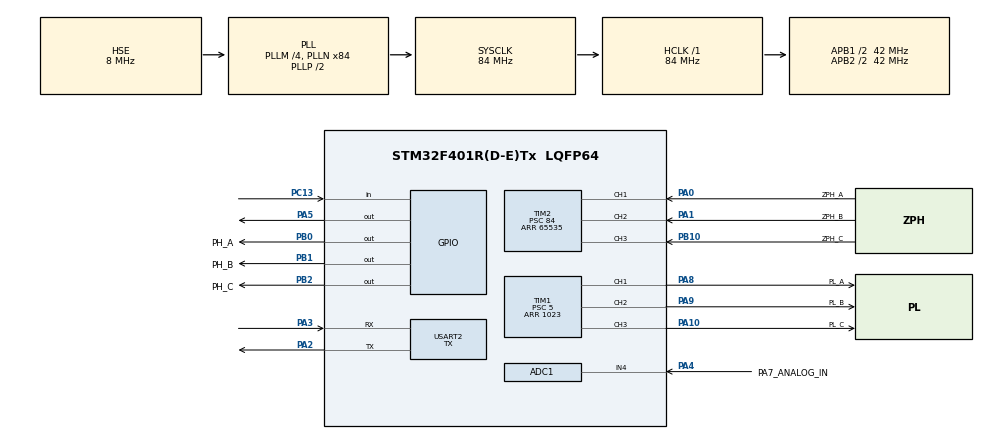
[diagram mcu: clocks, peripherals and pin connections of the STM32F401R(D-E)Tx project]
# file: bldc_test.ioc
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ADC1.Channel-1\#ChannelRegularConversion=ADC_CHANNEL_4
ADC1.NbrOfConversionFlag=1
ADC1.Rank-1\#ChannelRegularConversion=1
ADC1.Resolution=ADC_RESOLUTION_8B
ADC1.SamplingTime-1\#ChannelRegularConversion=ADC_SAMPLETIME_3CYCLES
ADC1.master=1
Mcu.Family=STM32F4
Mcu.Name=STM32F401R(D-E)Tx
Mcu.Package=LQFP64
NVIC.PriorityGroup=NVIC_PRIORITYGROUP_0
NVIC.TIM2_IRQn=true\:0\:0\:false\:false\:true\:true\:false
PA0-WKUP.GPIO_Label=ZPH_A
PA0-WKUP.Signal=S_TIM2_CH1_ETR
PA1.GPIO_Label=ZPH_B
PA1.Signal=S_TIM2_CH2
PA10.GPIO_Label=PL_C
PA10.Signal=S_TIM1_CH3
PA2.Mode=Asynchronous
PA2.Signal=USART2_TX
PA3.Mode=Asynchronous
PA3.Signal=USART2_RX
PA4.GPIO_Label=PA7_ANALOG_IN
PA4.Signal=ADCx_IN4
PA5.Signal=GPIO_Output
PA8.GPIO_Label=PL_A
PA8.Signal=S_TIM1_CH1
PA9.GPIO_Label=PL_B
PA9.Signal=S_TIM1_CH2
PB0.GPIO_Label=PH_A
PB0.Signal=GPIO_Output
PB1.GPIO_Label=PH_B
PB1.Signal=GPIO_Output
PB10.GPIO_Label=ZPH_C
PB10.Signal=S_TIM2_CH3
PB2.GPIO_Label=PH_C
PB2.Signal=GPIO_Output
PC13-ANTI_TAMP.Signal=GPIO_Input
PH0\ -\ OSC_IN.Mode=HSE-External-Clock-Source
PH0\ -\ OSC_IN.Signal=RCC_OSC_IN
PH1\ -\ OSC_OUT.Mode=HSE-External-Clock-Source
PH1\ -\ OSC_OUT.Signal=RCC_OSC_OUT
ProjectManager.HeapSize=0x200
ProjectManager.StackSize=0x400
ProjectManager.TargetToolchain=STM32CubeIDE
RCC.48MHZClocksFreq_Value=24000000
RCC.AHBFreq_Value=84000000
RCC.APB1CLKDivider=RCC_HCLK_DIV2
RCC.APB1Freq_Value=42000000
RCC.APB1TimFreq_Value=84000000
RCC.APB2CLKDivider=RCC_HCLK_DIV2
RCC.APB2Freq_Value=42000000
RCC.APB2TimFreq_Value=84000000
RCC.CortexFreq_Value=84000000
RCC.HCLKFreq_Value=84000000
RCC.HSE_VALUE=8000000
RCC.HSI_VALUE=16000000
RCC.LSE_VALUE=32768
RCC.PLLM=4
RCC.PLLN=84
RCC.PLLQ=7
RCC.PLLSourceVirtual=RCC_PLLSOURCE_HSE
RCC.SYSCLKFreq_VALUE=84000000
RCC.SYSCLKSource=RCC_SYSCLKSOURCE_PLLCLK
RCC.VCOOutputFreq_Value=168000000
SH.ADCx_IN4.0=ADC1_IN4,IN4
SH.S_TIM1_CH1.0=TIM1_CH1,PWM Generation1 CH1
SH.S_TIM1_CH2.0=TIM1_CH2,PWM Generation2 CH2
SH.S_TIM1_CH3.0=TIM1_CH3,PWM Generation3 CH3
SH.S_TIM2_CH1_ETR.0=TIM2_CH1,Input_Capture1_from_TI1
SH.S_TIM2_CH2.0=TIM2_CH2,Input_Capture2_from_TI2
SH.S_TIM2_CH3.0=TIM2_CH3,Input_Capture3_from_TI3
TIM1.Channel-PWM\ Generation1\ CH1=TIM_CHANNEL_1
TIM1.Channel-PWM\ Generation2\ CH2=TIM_CHANNEL_2
TIM1.Channel-PWM\ Generation3\ CH3=TIM_CHANNEL_3
TIM1.Period=1023
TIM1.Prescaler=5
TIM2.Channel-Input_Capture1_from_TI1=TIM_CHANNEL_1
TIM2.Channel-Input_Capture2_from_TI2=TIM_CHANNEL_2
TIM2.Channel-Input_Capture3_from_TI3=TIM_CHANNEL_3
TIM2.ICPolarity_CH1=TIM_INPUTCHANNELPOLARITY_FALLING
TIM2.ICPolarity_CH2=TIM_INPUTCHANNELPOLARITY_FALLING
TIM2.ICPolarity_CH3=TIM_INPUTCHANNELPOLARITY_FALLING
TIM2.Period=65535
TIM2.Prescaler=84
TIM2.TIM_MasterOutputTrigger=TIM_TRGO_UPDATE
USART2.Mode=MODE_TX
USART2.VirtualMode=VM_ASYNC
VP_TIM2_VS_ClockSourceINT.Mode=Internal
board=NUCLEO-F401RE

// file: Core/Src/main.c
/* USER CODE BEGIN Header */
/**
  ******************************************************************************
  * @file           : main.c
  * @brief          : Main program body
  ******************************************************************************
  * @attention
  *
  * <h2><center>&copy; Copyright (c) 2020 STMicroelectronics.
  * All rights reserved.</center></h2>
  *
  * This software component is licensed by ST under BSD 3-Clause license,
  * the "License"; You may not use this file except in compliance with the
  * License. You may obtain a copy of the License at:
  *                        opensource.org/licenses/BSD-3-Clause
  *
  ******************************************************************************
  */
/* USER CODE END Header */

#include "main.h"

ADC_HandleTypeDef hadc1;

TIM_HandleTypeDef htim1;
TIM_HandleTypeDef htim2;

UART_HandleTypeDef huart2;

/* USER CODE BEGIN PV */
uint8_t StateFlags;
uint8_t TimerFlags;
uint8_t SlowStartEvents;
uint8_t TMR_WarmUp_Timer;
uint8_t TMR_SlowStart_Timer;
uint8_t TMR_StartUp_Timer;
uint8_t TMR_Duty_Timer;
uint8_t TMR_Stall_Timer;
uint8_t TMR_StallCheck_Timer;
uint8_t TMR_Serial_Timer;
uint16_t TMR_Comm_Time;
uint16_t Comm_After_ZC;
uint16_t Expected_ZC;
uint16_t ZC;
int ZCError;
uint8_t PwmDuty;
uint8_t CommState;
uint8_t IsrState;
uint16_t Bit16;
uint32_t Bit32;
uint16_t Temp_Comm_Time;
int Temp;
char buffer[50];
const int CCR_Values[256]={
   0,  4,  8,  12, 16, 20, 24, 27, 31, 35, 39, 43, 47, 51, 55, 59,
   63, 67, 71, 75, 78, 82, 86, 90, 94, 98, 102,106,110,114,118,122,
   125,129,133,137,141,145,149,153,157,161,165,169,173,176,180,184,
   188,192,196,200,204,208,212,216,220,224,227,231,235,239,243,247,
   251,255,259,263,267,271,275,278,282,286,290,294,298,302,306,310,
   314,318,322,325,329,333,337,341,345,349,353,357,361,365,369,373,
   376,380,384,388,392,396,400,404,408,412,416,420,424,427,431,435,
   439,443,447,451,455,459,463,467,471,475,478,482,486,490,494,498,
   502,506,510,514,518,522,525,529,533,537,541,545,549,553,557,561,
   565,569,573,576,580,584,588,592,596,600,604,608,612,616,620,624,
   627,631,635,639,643,647,651,655,659,663,667,671,675,678,682,686,
   690,694,698,702,706,710,714,718,722,725,729,733,737,741,745,749,
   753,757,761,765,769,773,776,780,784,788,792,796,800,804,808,812,
   816,820,824,827,831,835,839,843,847,851,855,859,863,867,871,875,
   878,882,886,890,894,898,902,906,910,914,918,922,925,929,933,937,
   941,945,949,953,957,961,965,969,973,976,980,984,988,992,996,1000
};
/* USER CODE END PV */

void SystemClock_Config(void);
static void MX_GPIO_Init(void);
static void MX_USART2_UART_Init(void);
static void MX_ADC1_Init(void);
static void MX_TIM1_Init(void);
static void MX_TIM2_Init(void);

int main(void)
{

  /* MCU Configuration--------------------------------------------------------*/

  /* Reset of all peripherals, Initializes the Flash interface and the Systick. */
  HAL_Init();

  /* Configure the system clock */
  SystemClock_Config();

  /* Initialize all configured peripherals */
  MX_GPIO_Init();
  MX_USART2_UART_Init();
  MX_ADC1_Init();
  MX_TIM1_Init();
  MX_TIM2_Init();
  /* USER CODE BEGIN 2 */
  StateFlags |= STOP_FLAG;
  /* USER CODE END 2 */

  /* Infinite loop */
  while (1)
  {

    /* USER CODE BEGIN 3 */
	  if(StateFlags & STOP_FLAG) InitSystem();
	  TimeBaseManager();
	  WarmUpControl();
	  ControlSlowStart();
	  ControlStartUp();
	  StallControl();
	  SpeedManager();
	  SerialMonitoring();
  }
  /* USER CODE END 3 */
}

void SystemClock_Config(void)
{
  RCC_OscInitTypeDef RCC_OscInitStruct = {0};
  RCC_ClkInitTypeDef RCC_ClkInitStruct = {0};

  /** Configure the main internal regulator output voltage
  */
  __HAL_RCC_PWR_CLK_ENABLE();
  __HAL_PWR_VOLTAGESCALING_CONFIG(PWR_REGULATOR_VOLTAGE_SCALE2);
  /** Initializes the CPU, AHB and APB busses clocks
  */
  RCC_OscInitStruct.OscillatorType = RCC_OSCILLATORTYPE_HSE;
  RCC_OscInitStruct.HSEState = RCC_HSE_BYPASS;
  RCC_OscInitStruct.PLL.PLLState = RCC_PLL_ON;
  RCC_OscInitStruct.PLL.PLLSource = RCC_PLLSOURCE_HSE;
  RCC_OscInitStruct.PLL.PLLM = 4;
  RCC_OscInitStruct.PLL.PLLN = 84;
  RCC_OscInitStruct.PLL.PLLP = RCC_PLLP_DIV2;
  RCC_OscInitStruct.PLL.PLLQ = 7;
  if (HAL_RCC_OscConfig(&RCC_OscInitStruct) != HAL_OK)
  {
    Error_Handler();
  }
  /** Initializes the CPU, AHB and APB busses clocks
  */
  RCC_ClkInitStruct.ClockType = RCC_CLOCKTYPE_HCLK|RCC_CLOCKTYPE_SYSCLK
                              |RCC_CLOCKTYPE_PCLK1|RCC_CLOCKTYPE_PCLK2;
  RCC_ClkInitStruct.SYSCLKSource = RCC_SYSCLKSOURCE_PLLCLK;
  RCC_ClkInitStruct.AHBCLKDivider = RCC_SYSCLK_DIV1;
  RCC_ClkInitStruct.APB1CLKDivider = RCC_HCLK_DIV2;
  RCC_ClkInitStruct.APB2CLKDivider = RCC_HCLK_DIV2;

  if (HAL_RCC_ClockConfig(&RCC_ClkInitStruct, FLASH_LATENCY_2) != HAL_OK)
  {
    Error_Handler();
  }
}

static void MX_ADC1_Init(void)
{

  ADC_ChannelConfTypeDef sConfig = {0};

  /** Configure the global features of the ADC (Clock, Resolution, Data Alignment and number of conversion)
  */
  hadc1.Instance = ADC1;
  hadc1.Init.ClockPrescaler = ADC_CLOCK_SYNC_PCLK_DIV2;
  hadc1.Init.Resolution = ADC_RESOLUTION_8B;
  hadc1.Init.ScanConvMode = DISABLE;
  hadc1.Init.ContinuousConvMode = DISABLE;
  hadc1.Init.DiscontinuousConvMode = DISABLE;
  hadc1.Init.ExternalTrigConvEdge = ADC_EXTERNALTRIGCONVEDGE_NONE;
  hadc1.Init.ExternalTrigConv = ADC_SOFTWARE_START;
  hadc1.Init.DataAlign = ADC_DATAALIGN_RIGHT;
  hadc1.Init.NbrOfConversion = 1;
  hadc1.Init.DMAContinuousRequests = DISABLE;
  hadc1.Init.EOCSelection = ADC_EOC_SINGLE_CONV;
  if (HAL_ADC_Init(&hadc1) != HAL_OK)
  {
    Error_Handler();
  }
  /** Configure for the selected ADC regular channel its corresponding rank in the sequencer and its sample time.
  */
  sConfig.Channel = ADC_CHANNEL_4;
  sConfig.Rank = 1;
  sConfig.SamplingTime = ADC_SAMPLETIME_3CYCLES;
  if (HAL_ADC_ConfigChannel(&hadc1, &sConfig) != HAL_OK)
  {
    Error_Handler();
  }

}

static void MX_TIM1_Init(void)
{

  TIM_MasterConfigTypeDef sMasterConfig = {0};
  TIM_OC_InitTypeDef sConfigOC = {0};
  TIM_BreakDeadTimeConfigTypeDef sBreakDeadTimeConfig = {0};

  htim1.Instance = TIM1;
  htim1.Init.Prescaler = 5;
  htim1.Init.CounterMode = TIM_COUNTERMODE_UP;
  htim1.Init.Period = 1023;
  htim1.Init.ClockDivision = TIM_CLOCKDIVISION_DIV1;
  htim1.Init.RepetitionCounter = 0;
  htim1.Init.AutoReloadPreload = TIM_AUTORELOAD_PRELOAD_DISABLE;
  if (HAL_TIM_PWM_Init(&htim1) != HAL_OK)
  {
    Error_Handler();
  }
  sMasterConfig.MasterOutputTrigger = TIM_TRGO_RESET;
  sMasterConfig.MasterSlaveMode = TIM_MASTERSLAVEMODE_DISABLE;
  if (HAL_TIMEx_MasterConfigSynchronization(&htim1, &sMasterConfig) != HAL_OK)
  {
    Error_Handler();
  }
  sConfigOC.OCMode = TIM_OCMODE_PWM1;
  sConfigOC.Pulse = 0;
  sConfigOC.OCPolarity = TIM_OCPOLARITY_HIGH;
  sConfigOC.OCNPolarity = TIM_OCNPOLARITY_HIGH;
  sConfigOC.OCFastMode = TIM_OCFAST_DISABLE;
  sConfigOC.OCIdleState = TIM_OCIDLESTATE_RESET;
  sConfigOC.OCNIdleState = TIM_OCNIDLESTATE_RESET;
  if (HAL_TIM_PWM_ConfigChannel(&htim1, &sConfigOC, TIM_CHANNEL_1) != HAL_OK)
  {
    Error_Handler();
  }
  if (HAL_TIM_PWM_ConfigChannel(&htim1, &sConfigOC, TIM_CHANNEL_2) != HAL_OK)
  {
    Error_Handler();
  }
  if (HAL_TIM_PWM_ConfigChannel(&htim1, &sConfigOC, TIM_CHANNEL_3) != HAL_OK)
  {
    Error_Handler();
  }
  sBreakDeadTimeConfig.OffStateRunMode = TIM_OSSR_DISABLE;
  sBreakDeadTimeConfig.OffStateIDLEMode = TIM_OSSI_DISABLE;
  sBreakDeadTimeConfig.LockLevel = TIM_LOCKLEVEL_OFF;
  sBreakDeadTimeConfig.DeadTime = 0;
  sBreakDeadTimeConfig.BreakState = TIM_BREAK_DISABLE;
  sBreakDeadTimeConfig.BreakPolarity = TIM_BREAKPOLARITY_HIGH;
  sBreakDeadTimeConfig.AutomaticOutput = TIM_AUTOMATICOUTPUT_DISABLE;
  if (HAL_TIMEx_ConfigBreakDeadTime(&htim1, &sBreakDeadTimeConfig) != HAL_OK)
  {
    Error_Handler();
  }
  HAL_TIM_MspPostInit(&htim1);

}

static void MX_TIM2_Init(void)
{

  TIM_ClockConfigTypeDef sClockSourceConfig = {0};
  TIM_MasterConfigTypeDef sMasterConfig = {0};
  TIM_IC_InitTypeDef sConfigIC = {0};

  htim2.Instance = TIM2;
  htim2.Init.Prescaler = 84;
  htim2.Init.CounterMode = TIM_COUNTERMODE_UP;
  htim2.Init.Period = 65535;
  htim2.Init.ClockDivision = TIM_CLOCKDIVISION_DIV1;
  htim2.Init.AutoReloadPreload = TIM_AUTORELOAD_PRELOAD_DISABLE;
  if (HAL_TIM_Base_Init(&htim2) != HAL_OK)
  {
    Error_Handler();
  }
  sClockSourceConfig.ClockSource = TIM_CLOCKSOURCE_INTERNAL;
  if (HAL_TIM_ConfigClockSource(&htim2, &sClockSourceConfig) != HAL_OK)
  {
    Error_Handler();
  }
  if (HAL_TIM_IC_Init(&htim2) != HAL_OK)
  {
    Error_Handler();
  }
  sMasterConfig.MasterOutputTrigger = TIM_TRGO_UPDATE;
  sMasterConfig.MasterSlaveMode = TIM_MASTERSLAVEMODE_DISABLE;
  if (HAL_TIMEx_MasterConfigSynchronization(&htim2, &sMasterConfig) != HAL_OK)
  {
    Error_Handler();
  }
  sConfigIC.ICPolarity = TIM_INPUTCHANNELPOLARITY_FALLING;
  sConfigIC.ICSelection = TIM_ICSELECTION_DIRECTTI;
  sConfigIC.ICPrescaler = TIM_ICPSC_DIV1;
  sConfigIC.ICFilter = 0;
  if (HAL_TIM_IC_ConfigChannel(&htim2, &sConfigIC, TIM_CHANNEL_1) != HAL_OK)
  {
    Error_Handler();
  }
  if (HAL_TIM_IC_ConfigChannel(&htim2, &sConfigIC, TIM_CHANNEL_2) != HAL_OK)
  {
    Error_Handler();
  }
  if (HAL_TIM_IC_ConfigChannel(&htim2, &sConfigIC, TIM_CHANNEL_3) != HAL_OK)
  {
    Error_Handler();
  }

}

static void MX_USART2_UART_Init(void)
{

  huart2.Instance = USART2;
  huart2.Init.BaudRate = 115200;
  huart2.Init.WordLength = UART_WORDLENGTH_8B;
  huart2.Init.StopBits = UART_STOPBITS_1;
  huart2.Init.Parity = UART_PARITY_NONE;
  huart2.Init.Mode = UART_MODE_TX;
  huart2.Init.HwFlowCtl = UART_HWCONTROL_NONE;
  huart2.Init.OverSampling = UART_OVERSAMPLING_16;
  if (HAL_UART_Init(&huart2) != HAL_OK)
  {
    Error_Handler();
  }

}

static void MX_GPIO_Init(void)
{
  GPIO_InitTypeDef GPIO_InitStruct = {0};

  /* GPIO Ports Clock Enable */
  __HAL_RCC_GPIOC_CLK_ENABLE();
  __HAL_RCC_GPIOH_CLK_ENABLE();
  __HAL_RCC_GPIOA_CLK_ENABLE();
  __HAL_RCC_GPIOB_CLK_ENABLE();

  /*Configure GPIO pin Output Level */
  HAL_GPIO_WritePin(GPIOA, GPIO_PIN_5, GPIO_PIN_RESET);

  /*Configure GPIO pin Output Level */
  HAL_GPIO_WritePin(GPIOB, PH_A_Pin|PH_B_Pin|PH_C_Pin, GPIO_PIN_RESET);

  /*Configure GPIO pin : PC13 */
  GPIO_InitStruct.Pin = GPIO_PIN_13;
  GPIO_InitStruct.Mode = GPIO_MODE_INPUT;
  GPIO_InitStruct.Pull = GPIO_NOPULL;
  HAL_GPIO_Init(GPIOC, &GPIO_InitStruct);

  /*Configure GPIO pin : PA5 */
  GPIO_InitStruct.Pin = GPIO_PIN_5;
  GPIO_InitStruct.Mode = GPIO_MODE_OUTPUT_PP;
  GPIO_InitStruct.Pull = GPIO_NOPULL;
  GPIO_InitStruct.Speed = GPIO_SPEED_FREQ_LOW;
  HAL_GPIO_Init(GPIOA, &GPIO_InitStruct);

  /*Configure GPIO pins : PH_A_Pin PH_B_Pin PH_C_Pin */
  GPIO_InitStruct.Pin = PH_A_Pin|PH_B_Pin|PH_C_Pin;
  GPIO_InitStruct.Mode = GPIO_MODE_OUTPUT_PP;
  GPIO_InitStruct.Pull = GPIO_NOPULL;
  GPIO_InitStruct.Speed = GPIO_SPEED_FREQ_LOW;
  HAL_GPIO_Init(GPIOB, &GPIO_InitStruct);

}

/* USER CODE BEGIN 4 */
void InitSystem(void)
{
	HAL_TIM_Base_Stop_IT(&htim2);
	HAL_TIM_IC_Stop_IT(&htim2, TIM_CHANNEL_1);
	HAL_TIM_IC_Stop_IT(&htim2, TIM_CHANNEL_2);
	HAL_TIM_IC_Stop_IT(&htim2, TIM_CHANNEL_3);

	HAL_TIM_PWM_Stop(&htim1, TIM_CHANNEL_1);
	HAL_TIM_PWM_Stop(&htim1, TIM_CHANNEL_2);
	HAL_TIM_PWM_Stop(&htim1, TIM_CHANNEL_3);
	HAL_GPIO_WritePin(GPIOB, GPIO_PIN_0, GPIO_PIN_RESET);
	HAL_GPIO_WritePin(GPIOB, GPIO_PIN_1, GPIO_PIN_RESET);
	HAL_GPIO_WritePin(GPIOB, GPIO_PIN_2, GPIO_PIN_RESET);

	TMR_WarmUp_Timer = WARMUP_TIME;
	TMR_SlowStart_Timer = SLOWSTART_TIME;
	TMR_Duty_Timer = DUTY_TIME;
	TMR_Stall_Timer = STALL_TIME;
	TMR_StallCheck_Timer = STALL_CHECK_TIME;
	TMR_Serial_Timer = SERIAL_TIME;

	StateFlags = 0x00U;
	TimerFlags = 0x00U;
	SlowStartEvents = SLOW_STEPS;

	Comm_After_ZC = 0;
	Expected_ZC = 0;
	ZC = 0;
	ZCError = 0;
}

void InitDriver(void)
{
	PwmDuty = FindTableIndex(START_PWM_DUTY);
	GetPulseVal(PwmDuty);

	TMR_Comm_Time = TIMER_START_COUNT;
	Expected_ZC = (TMR_Comm_Time>>1) | 0x8000;

	CommState = 1;
	Commutate();

	sprintf(buffer, "BLDC started\n");
	HAL_UART_Transmit(&huart2, (uint8_t *)buffer, strlen(buffer), 10);

	StateFlags |= (INIT_COMPLETE_FLAG | STARTUP_IN_PROGRESS);
}

uint8_t FindTableIndex(uint16_t Find_duty)
{
	uint8_t Index;
	for (Index = 0; CCR_Values[Index] < Find_duty; Index++);
	return Index;
}

void TimeBaseManager(void)
{
	HAL_Delay(9);
	TimerFlags |= (TIMER_WARMUP_FLAG | TIMER_SLOWSTART_FLAG);
	TimerFlags |= (TIMER_STARTUP_FLAG | TIMER_DUTY_FLAG);
	TimerFlags |= TIMER_SERIAL_FLAG;
}

void WarmUpControl(void)
{
	if (StateFlags & WARMUP_COMPLETE_FLAG) return;

	if ((~(TimerFlags)) & TIMER_WARMUP_FLAG) return;
	TimerFlags &= ~((uint8_t)TIMER_WARMUP_FLAG);

	if (TMR_WarmUp_Timer)
	{
		TMR_WarmUp_Timer--;
	}
	else
	{
		if (StateFlags & RUN_FLAG)
		{
			StateFlags |= WARMUP_COMPLETE_FLAG;
			InitDriver();
		}
	}
}

void ControlSlowStart(void)
{
	if ((~(StateFlags)) & INIT_COMPLETE_FLAG) return;

	if (StateFlags & SLOWSTART_COMPLETE_FLAG) return;

	if ((~(TimerFlags)) & TIMER_SLOWSTART_FLAG) return;
	TimerFlags &= ~((uint8_t)TIMER_SLOWSTART_FLAG);

	if (--TMR_SlowStart_Timer == 0)
	{
		if (--SlowStartEvents == 0)
		{
			StateFlags |= SLOWSTART_COMPLETE_FLAG;
			TMR_StartUp_Timer = STARTUP_TIME;
			HAL_TIM_Base_Stop(&htim2);
			__HAL_TIM_SET_COUNTER(&htim2, TMR_Comm_Time);
			HAL_TIM_Base_Start(&htim2);
			IsrState = COMMUTATE;
			HAL_TIM_Base_Start_IT(&htim2);
		}
		else
		{
			TMR_SlowStart_Timer = SLOWSTART_TIME;
			Commutate();
		}
	}
}

void ControlStartUp(void)
{
	if ((~(StateFlags)) & SLOWSTART_COMPLETE_FLAG) return;

	if ((~(StateFlags)) & STARTUP_IN_PROGRESS) return;

	if ((~(TimerFlags)) & TIMER_STARTUP_FLAG) return;
	TimerFlags &= ~((uint8_t)TIMER_STARTUP_FLAG);

	if (--TMR_StartUp_Timer == 0)
	{
		StateFlags &= ~((uint8_t)STARTUP_IN_PROGRESS);

		if ((~(StateFlags)) & STARTUP_COMPLETE_FLAG)
		{
			StateFlags |= STOP_FLAG;
		}
	}
}

void StallControl(void)
{
	if ((~(StateFlags)) & INIT_COMPLETE_FLAG) return;

	if ((~(StateFlags)) & STARTUP_COMPLETE_FLAG) return;

	if ((~(TimerFlags)) & TIMER_STALL_FLAG) return;
	TimerFlags &= ~((uint8_t)TIMER_STALL_FLAG);

	if(--TMR_Stall_Timer == 0)
	{
		StateFlags |= STOP_FLAG;
	}

	if (--TMR_StallCheck_Timer == 0)
	{
		TMR_StallCheck_Timer = STALL_CHECK_TIME;

		if(TMR_Comm_Time > MIN_COMMUTATION_COUNT)
		{
			StateFlags |= STOP_FLAG;
		}
	}
}

void SpeedManager(void)
{
	uint16_t AdcVal;

	if((~(TimerFlags)) & TIMER_DUTY_FLAG) return;
	TimerFlags &= ~((uint8_t)TIMER_DUTY_FLAG);

	if(--TMR_Duty_Timer) return;

	HAL_ADC_Start(&hadc1);
	if(HAL_ADC_PollForConversion(&hadc1, 5) == HAL_OK)
	{
		AdcVal = HAL_ADC_GetValue(&hadc1);
	}
	HAL_ADC_Stop(&hadc1);

	if (AdcVal < OFF_ADC_VAL)
	{
		if (StateFlags & RUN_FLAG) StateFlags |= STOP_FLAG;
		StateFlags &= ~((uint8_t)RUN_FLAG);
		return;
	}

	if (AdcVal > ON_ADC_VAL) StateFlags |= RUN_FLAG;

	if ((~(StateFlags)) & STARTUP_COMPLETE_FLAG) return;

	if (AdcVal > PwmDuty) PwmDuty++;

	if (AdcVal < PwmDuty) PwmDuty--;

	GetPulseVal(PwmDuty);
	return;
}

void GetPulseVal(uint8_t PulseVal)
{
	htim1.Instance->CCR1 = CCR_Values[PulseVal];
	htim1.Instance->CCR2 = CCR_Values[PulseVal];
	htim1.Instance->CCR3 = CCR_Values[PulseVal];
}

void Commutate(void)//Low Side Modulation
{
	switch (CommState)
	{
	case 1:
		HAL_GPIO_WritePin(GPIOB, GPIO_PIN_2, GPIO_PIN_RESET);
		HAL_TIM_PWM_Start(&htim1, TIM_CHANNEL_2);
		HAL_GPIO_WritePin(GPIOB, GPIO_PIN_0, GPIO_PIN_SET);

		StateFlags &= ~((uint8_t)RISING_BEMF_FLAG);

		Bit32 = GPIOB_BASE;
		Bit16 = GPIO_PIN_10;
		break;
	case 2:
		HAL_TIM_PWM_Stop(&htim1, TIM_CHANNEL_2);
		HAL_TIM_PWM_Start(&htim1, TIM_CHANNEL_3);

		StateFlags |= RISING_BEMF_FLAG;

		Bit32 = GPIOA_BASE;
		Bit16 = GPIO_PIN_1;
		break;
	case 3:
		HAL_GPIO_WritePin(GPIOB, GPIO_PIN_0, GPIO_PIN_RESET);
		HAL_GPIO_WritePin(GPIOB, GPIO_PIN_1, GPIO_PIN_SET);

		StateFlags &= ~((uint8_t)RISING_BEMF_FLAG);

		Bit32 = GPIOA_BASE;
		Bit16 = GPIO_PIN_0;
		break;
	case 4:
		HAL_TIM_PWM_Stop(&htim1, TIM_CHANNEL_3);
		HAL_TIM_PWM_Start(&htim1, TIM_CHANNEL_1);

		StateFlags |= RISING_BEMF_FLAG;

		Bit32 = GPIOB_BASE;
		Bit16 = GPIO_PIN_10;
		break;
	case 5:
		HAL_GPIO_WritePin(GPIOB, GPIO_PIN_1, GPIO_PIN_RESET);
		HAL_GPIO_WritePin(GPIOB, GPIO_PIN_2, GPIO_PIN_SET);

		StateFlags &= ~((uint8_t)RISING_BEMF_FLAG);

		Bit32 = GPIOA_BASE;
		Bit16 = GPIO_PIN_1;
		break;
	case 6:
		HAL_TIM_PWM_Stop(&htim1, TIM_CHANNEL_1);
		HAL_TIM_PWM_Start(&htim1, TIM_CHANNEL_2);

		StateFlags |= RISING_BEMF_FLAG;

		Bit32 = GPIOA_BASE;
		Bit16 = GPIO_PIN_0;

		CommState = 0;
		break;
	default:
		HAL_TIM_PWM_Stop(&htim1, TIM_CHANNEL_1);
		HAL_TIM_PWM_Stop(&htim1, TIM_CHANNEL_2);
		HAL_TIM_PWM_Stop(&htim1, TIM_CHANNEL_3);
		HAL_GPIO_WritePin(GPIOB, GPIO_PIN_0, GPIO_PIN_RESET);
		HAL_GPIO_WritePin(GPIOB, GPIO_PIN_1, GPIO_PIN_RESET);
		HAL_GPIO_WritePin(GPIOB, GPIO_PIN_2, GPIO_PIN_RESET);
		CommState = 1;
		break;
	}
	CommState++;
}

void NextZC(void)
{
	switch (CommState)
	{
	case 1:
		HAL_TIM_IC_Start_IT(&htim2, TIM_CHANNEL_1);
		break;
	case 2:
		HAL_TIM_IC_Start_IT(&htim2, TIM_CHANNEL_3);
		break;
	case 3:
		HAL_TIM_IC_Start_IT(&htim2, TIM_CHANNEL_2);
		break;
	case 4:
		HAL_TIM_IC_Start_IT(&htim2, TIM_CHANNEL_1);
		break;
	case 5:
		HAL_TIM_IC_Start_IT(&htim2, TIM_CHANNEL_3);
		break;
	case 6:
		HAL_TIM_IC_Start_IT(&htim2, TIM_CHANNEL_2);
		break;
	default:
		HAL_TIM_IC_Stop_IT(&htim2, TIM_CHANNEL_1);
		HAL_TIM_IC_Stop_IT(&htim2, TIM_CHANNEL_2);
		HAL_TIM_IC_Stop_IT(&htim2, TIM_CHANNEL_3);
		break;
	}
}

void SerialMonitoring(void)
{
	if ((~(StateFlags)) & INIT_COMPLETE_FLAG) return;

	if ((~(StateFlags)) & STARTUP_COMPLETE_FLAG) return;

	if ((~(TimerFlags)) & TIMER_SERIAL_FLAG) return;
	TimerFlags &= ~((uint8_t)TIMER_SERIAL_FLAG);

	if(--TMR_Serial_Timer == 0)
	{
		TMR_Serial_Timer = SERIAL_TIME;

		Temp = CCR_Values[PwmDuty] * 100 / PWM_PERIOD;
		sprintf(buffer, "PWM Duty Cycle = %d %%\n", Temp);
		HAL_UART_Transmit(&huart2, (uint8_t *)buffer, strlen(buffer), 10);

		Temp = ((uint16_t)-TMR_Comm_Time) * NUM_PHASES * NUM_POLES;
		Temp = US_PER_SEC * SEC_PER_MIN / Temp;
		sprintf(buffer, "Speed = %d RPM\n", Temp);
		HAL_UART_Transmit(&huart2, (uint8_t *)buffer, strlen(buffer), 10);
	}
}
/* USER CODE END 4 */

void Error_Handler(void)
{
}

/************************ (C) COPYRIGHT STMicroelectronics *****END OF FILE****/
